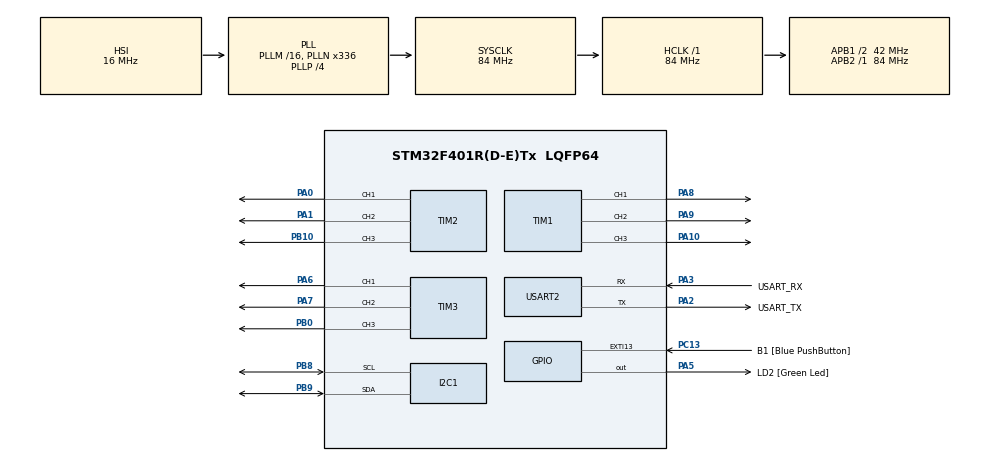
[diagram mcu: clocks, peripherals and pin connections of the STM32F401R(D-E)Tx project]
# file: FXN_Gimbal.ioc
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FREERTOS.Tasks01=GimbalCore,0,256,StartGimbalTask,Default,NULL,Dynamic,NULL,NULL
Mcu.Family=STM32F4
Mcu.Name=STM32F401R(D-E)Tx
Mcu.Package=LQFP64
NVIC.PriorityGroup=NVIC_PRIORITYGROUP_4
PA0-WKUP.Signal=S_TIM2_CH1_ETR
PA1.Signal=S_TIM2_CH2
PA10.Signal=S_TIM1_CH3
PA13.GPIO_Label=TMS
PA13.Mode=Serial_Wire
PA13.Signal=SYS_JTMS-SWDIO
PA14.GPIO_Label=TCK
PA14.Mode=Serial_Wire
PA14.Signal=SYS_JTCK-SWCLK
PA2.GPIO_Label=USART_TX
PA2.GPIO_Mode=GPIO_MODE_AF_PP
PA2.GPIO_PuPd=GPIO_NOPULL
PA2.GPIO_Speed=GPIO_SPEED_FREQ_LOW
PA2.Mode=Asynchronous
PA2.Signal=USART2_TX
PA3.GPIO_Label=USART_RX
PA3.GPIO_Mode=GPIO_MODE_AF_PP
PA3.GPIO_PuPd=GPIO_NOPULL
PA3.GPIO_Speed=GPIO_SPEED_FREQ_LOW
PA3.Mode=Asynchronous
PA3.Signal=USART2_RX
PA5.GPIO_Label=LD2 [Green Led]
PA5.GPIO_Mode=GPIO_MODE_OUTPUT_PP
PA5.GPIO_PuPd=GPIO_NOPULL
PA5.GPIO_Speed=GPIO_SPEED_FREQ_LOW
PA5.Signal=GPIO_Output
PA6.Signal=S_TIM3_CH1
PA7.Signal=S_TIM3_CH2
PA8.Signal=S_TIM1_CH1
PA9.Signal=S_TIM1_CH2
PB0.Signal=S_TIM3_CH3
PB10.Signal=S_TIM2_CH3
PB3.GPIO_Label=SWO
PB3.Signal=SYS_JTDO-SWO
PB8.Mode=I2C
PB8.Signal=I2C1_SCL
PB9.Mode=I2C
PB9.Signal=I2C1_SDA
PC13-ANTI_TAMP.GPIO_Label=B1 [Blue PushButton]
PC13-ANTI_TAMP.GPIO_ModeDefaultEXTI=GPIO_MODE_IT_FALLING
PC13-ANTI_TAMP.GPIO_PuPd=GPIO_NOPULL
PC13-ANTI_TAMP.Signal=GPXTI13
PC14-OSC32_IN.Mode=LSE-External-Oscillator
PC14-OSC32_IN.Signal=RCC_OSC32_IN
PC15-OSC32_OUT.Mode=LSE-External-Oscillator
PC15-OSC32_OUT.Signal=RCC_OSC32_OUT
PH0\ -\ OSC_IN.Mode=HSE-External-Clock-Source
PH0\ -\ OSC_IN.Signal=RCC_OSC_IN
PH1\ -\ OSC_OUT.Mode=HSE-External-Clock-Source
PH1\ -\ OSC_OUT.Signal=RCC_OSC_OUT
ProjectManager.HeapSize=0x200
ProjectManager.StackSize=0x400
ProjectManager.TargetToolchain=STM32CubeIDE
RCC.48MHZClocksFreq_Value=48000000
RCC.AHBFreq_Value=84000000
RCC.APB1CLKDivider=RCC_HCLK_DIV2
RCC.APB1Freq_Value=42000000
RCC.APB1TimFreq_Value=84000000
RCC.APB2Freq_Value=84000000
RCC.APB2TimFreq_Value=84000000
RCC.CortexFreq_Value=84000000
RCC.HCLKFreq_Value=84000000
RCC.HSE_VALUE=8000000
RCC.HSI_VALUE=16000000
RCC.PLLN=336
RCC.PLLP=RCC_PLLP_DIV4
RCC.PLLQ=7
RCC.SYSCLKFreq_VALUE=84000000
RCC.SYSCLKSource=RCC_SYSCLKSOURCE_PLLCLK
RCC.VCOOutputFreq_Value=336000000
SH.S_TIM1_CH1.0=TIM1_CH1,PWM Generation1 CH1
SH.S_TIM1_CH2.0=TIM1_CH2,PWM Generation2 CH2
SH.S_TIM1_CH3.0=TIM1_CH3,PWM Generation3 CH3
SH.S_TIM2_CH1_ETR.0=TIM2_CH1,PWM Generation1 CH1
SH.S_TIM2_CH2.0=TIM2_CH2,PWM Generation2 CH2
SH.S_TIM2_CH3.0=TIM2_CH3,PWM Generation3 CH3
SH.S_TIM3_CH1.0=TIM3_CH1,PWM Generation1 CH1
SH.S_TIM3_CH2.0=TIM3_CH2,PWM Generation2 CH2
SH.S_TIM3_CH3.0=TIM3_CH3,PWM Generation3 CH3
TIM1.Channel-PWM\ Generation1\ CH1=TIM_CHANNEL_1
TIM1.Channel-PWM\ Generation2\ CH2=TIM_CHANNEL_2
TIM1.Channel-PWM\ Generation3\ CH3=TIM_CHANNEL_3
TIM2.Channel-PWM\ Generation1\ CH1=TIM_CHANNEL_1
TIM2.Channel-PWM\ Generation2\ CH2=TIM_CHANNEL_2
TIM2.Channel-PWM\ Generation3\ CH3=TIM_CHANNEL_3
TIM3.Channel-PWM\ Generation1\ CH1=TIM_CHANNEL_1
TIM3.Channel-PWM\ Generation2\ CH2=TIM_CHANNEL_2
TIM3.Channel-PWM\ Generation3\ CH3=TIM_CHANNEL_3
USART2.VirtualMode=VM_ASYNC
VP_FREERTOS_VS_CMSIS_V1.Mode=CMSIS_V1
VP_TIM1_VS_ClockSourceINT.Mode=Internal
VP_TIM2_VS_ClockSourceINT.Mode=Internal
VP_TIM3_VS_ClockSourceINT.Mode=Internal
board=NUCLEO-F401RE

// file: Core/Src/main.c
/* USER CODE BEGIN Header */
/**
  ******************************************************************************
  * @file           : main.c
  * @brief          : Main program body
  ******************************************************************************
  * @attention
  *
  * Copyright (c) 2024 STMicroelectronics.
  * All rights reserved.
  *
  * This software is licensed under terms that can be found in the LICENSE file
  * in the root directory of this software component.
  * If no LICENSE file comes with this software, it is provided AS-IS.
  *
  ******************************************************************************
  */
/* USER CODE END Header */
#include "main.h"
#include "cmsis_os.h"
#include "i2c.h"
#include "tim.h"
#include "usart.h"
#include "gpio.h"

void SystemClock_Config(void);
void MX_FREERTOS_Init(void);

int main(void)
{

  /* MCU Configuration--------------------------------------------------------*/

  /* Reset of all peripherals, Initializes the Flash interface and the Systick. */
  HAL_Init();

  /* Configure the system clock */
  SystemClock_Config();

  /* Initialize all configured peripherals */
  MX_GPIO_Init();
  MX_I2C1_Init();
  MX_USART2_UART_Init();
  MX_TIM1_Init();
  MX_TIM2_Init();
  MX_TIM3_Init();

  /* Call init function for freertos objects (in freertos.c) */
  MX_FREERTOS_Init();

  /* Start scheduler */
  osKernelStart();

  /* We should never get here as control is now taken by the scheduler */
  /* Infinite loop */
  while (1)
  {

  }
}

void SystemClock_Config(void)
{
  RCC_OscInitTypeDef RCC_OscInitStruct = {0};
  RCC_ClkInitTypeDef RCC_ClkInitStruct = {0};

  /** Configure the main internal regulator output voltage
  */
  __HAL_RCC_PWR_CLK_ENABLE();
  __HAL_PWR_VOLTAGESCALING_CONFIG(PWR_REGULATOR_VOLTAGE_SCALE2);

  /** Initializes the RCC Oscillators according to the specified parameters
  * in the RCC_OscInitTypeDef structure.
  */
  RCC_OscInitStruct.OscillatorType = RCC_OSCILLATORTYPE_HSI;
  RCC_OscInitStruct.HSIState = RCC_HSI_ON;
  RCC_OscInitStruct.HSICalibrationValue = RCC_HSICALIBRATION_DEFAULT;
  RCC_OscInitStruct.PLL.PLLState = RCC_PLL_ON;
  RCC_OscInitStruct.PLL.PLLSource = RCC_PLLSOURCE_HSI;
  RCC_OscInitStruct.PLL.PLLM = 16;
  RCC_OscInitStruct.PLL.PLLN = 336;
  RCC_OscInitStruct.PLL.PLLP = RCC_PLLP_DIV4;
  RCC_OscInitStruct.PLL.PLLQ = 7;
  if (HAL_RCC_OscConfig(&RCC_OscInitStruct) != HAL_OK)
  {
    Error_Handler();
  }

  /** Initializes the CPU, AHB and APB buses clocks
  */
  RCC_ClkInitStruct.ClockType = RCC_CLOCKTYPE_HCLK|RCC_CLOCKTYPE_SYSCLK
                              |RCC_CLOCKTYPE_PCLK1|RCC_CLOCKTYPE_PCLK2;
  RCC_ClkInitStruct.SYSCLKSource = RCC_SYSCLKSOURCE_PLLCLK;
  RCC_ClkInitStruct.AHBCLKDivider = RCC_SYSCLK_DIV1;
  RCC_ClkInitStruct.APB1CLKDivider = RCC_HCLK_DIV2;
  RCC_ClkInitStruct.APB2CLKDivider = RCC_HCLK_DIV1;

  if (HAL_RCC_ClockConfig(&RCC_ClkInitStruct, FLASH_LATENCY_2) != HAL_OK)
  {
    Error_Handler();
  }
}

void Error_Handler(void)
{
  __disable_irq();
  while (1)
  {
  }
}

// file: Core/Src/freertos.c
/* USER CODE BEGIN Header */
/**
  ******************************************************************************
  * File Name          : freertos.c
  * Description        : Code for freertos applications
  ******************************************************************************
  * @attention
  *
  * Copyright (c) 2024 STMicroelectronics.
  * All rights reserved.
  *
  * This software is licensed under terms that can be found in the LICENSE file
  * in the root directory of this software component.
  * If no LICENSE file comes with this software, it is provided AS-IS.
  *
  ******************************************************************************
  */
/* USER CODE END Header */

#include "FreeRTOS.h"
#include "task.h"
#include "main.h"
#include "cmsis_os.h"

/* USER CODE BEGIN Includes */
#include "iImu.h"
#include "MPU6050/mpu6050.h"
#include "stdio.h"
#include "iDrive_Config.h"
#include "iPrint.h"
#include <math.h>
#include "firstOrderFilter.h"
#include "Bgc32.h"
#include "board.h"
#include "iHMC5883.h"
/* USER CODE END Includes */

/* USER CODE BEGIN PTD */

#define Kp 7.2f
#define Ki 0.0f
#define halfT 0.001f
float q_0 = 1, q_1 = 0, q_2 = 0, q_3 = 0;
float exInt = 0, eyInt = 0, ezInt = 0;
float P,R, Y;
float accelOneG=9.8065;
#define magneto 0
/* USER CODE END PTD */

/* USER CODE BEGIN PD */
IMU_DATA_STRUCT ImuData;
IMU_TEMP_STRUCT ImuTemp;
HMC5883_DATA_STRUCT HMC5883Data;
/* USER CODE END PD */

/* USER CODE BEGIN PM */
#define ACCEL_SCALE_FACTOR 0.00059854//0.00119708f  // (1/8192) * 9.8065  (8192 LSB = 1 G)
#define GYRO_SCALE_FACTOR  0.00026646f  // (1/65.5) * pi/180   (65.5 LSB = 1 DPS)
float dt500Hz=0;
float accel_TC_Bias_Slope_x;
float accel_TC_Bias_Slope_y;
float accel_TC_Bias_Slope_z;
float accel_TC_Bias_Intercept_x;
float accel_TC_Bias_Intercept_y;
float accel_TC_Bias_Intercept_z;
float gyro_TC_Bias_Slope_r;
float gyro_TC_Bias_Slope_p;
float gyro_TC_Bias_Slope_y;
float gyro_TC_Bias_Intercept_r;
float gyro_TC_Bias_Intercept_p;
float gyro_TC_Bias_Intercept_y;
float accelTCBias[3] = { 0.0f, 0.0f, 0.0f };
float gyroTCBias[3];
float accel500Hz[3] = {0.0f, 0.0f, 0.0f};
float gyro500Hz[3] = {0.0f, 0.0f, 0.0f};
float gyroRTBias[3] = {0.0f, 0.0f, 0.0f};
float evvgcCFAttitude500Hz[3] = {0.0f, 0.0f, 0.0f};
float accAngleSmooth[3];
/* USER CODE END PM */

osThreadId GimbalCoreHandle;

/* USER CODE BEGIN FunctionPrototypes */

void MPU6050_Calibration()
{
    uint16_t sampleRate      = 100;
    uint16_t numberOfSamples = 100;

    float accelBias1[3]       = { 0.0f, 0.0f, 0.0f };
    float gyroBias1[3]        = { 0.0f, 0.0f, 0.0f };
    float mpu6050Temperature1 = 0.0f;

    float accelBias2[3]       = { 0.0f, 0.0f, 0.0f };
    float gyroBias2[3]        = { 0.0f, 0.0f, 0.0f };
    float mpu6050Temperature2 = 0.0f;

    uint16_t index;
    //mpu6050Calibrating = true;

    printf("\nMPU6050 Calibration:\n\r");

    ///////////////////////////////////
    // Get samples at temperature1
    ///////////////////////////////////
    IMU_STRUCT* pImu = GetImuStr_Addr();

    printf("\nBegin 1st MPU6050 Measurements...\n");

    for (index = 0; index < numberOfSamples; index++)
    {
    	pImu->GetData(&ImuData);
    	float temp = Read_Temperature();

        accelBias1[0]    += ImuData.accel_x;
        accelBias1[1]    += ImuData.accel_y;
        accelBias1[2]	 += (ImuData.accel_z -9.8065);
        gyroBias1[0]     += ImuData.gyro_r;
        gyroBias1[1]     += ImuData.gyro_p;
        gyroBias1[2]     += ImuData.gyro_y;
        mpu6050Temperature1  += temp;

        printf("x=%f, y=%f, z=%f, accelBias1[0]=%f, accelBias1[1]=%f, accelBias1[2]=%f \r\n", ImuData.accel_x, ImuData.accel_y, ImuData.accel_z, accelBias1[0], accelBias1[1], accelBias1[2]);
        osDelay(sampleRate);
    }

    accelBias1[0]   /= (float) numberOfSamples;
    accelBias1[1]   /= (float) numberOfSamples;
    accelBias1[2]   /= (float) numberOfSamples;
    gyroBias1[0]    /= (float) numberOfSamples;
    gyroBias1[1]    /= (float) numberOfSamples;
    gyroBias1[2]    /= (float) numberOfSamples;
    mpu6050Temperature1 /= (float) numberOfSamples;
    printf("accelBias1[0]=%f, accelBias1[1]=%f, accelBias1[2]=%f \r\n",accelBias1[0],accelBias1[1],accelBias1[2]);
    printf("mpu6050Temperature1=%f",mpu6050Temperature1);
    printf("\n\nEnd 1st MPU6050 Measurements\n\r");

    osDelay(10000);
    ///////////////////////////////////
    // Get samples at temperature2
    ///////////////////////////////////
    printf("\nBegin 2nd MPU6050 Measurements...\n\r");

    for (index = 0; index < numberOfSamples; index++)
    {
    	pImu->GetData(&ImuData);
    	float temp = Read_Temperature();
        //rawAccel[ZAXIS].value = rawAccel[ZAXIS].value - 8192;
//    	float accel_z = ImuData.accel_z-16384;

        accelBias2[0]    += ImuData.accel_x;
        accelBias2[1]    += ImuData.accel_y;
        accelBias2[2]	 += (ImuData.accel_z -9.8065);
        gyroBias2[0]     += ImuData.gyro_r;
        gyroBias2[1]     += ImuData.gyro_p;
        gyroBias2[2]     += ImuData.gyro_y;
        mpu6050Temperature2  += temp;
        printf("x=%f, y=%f, z=%f, accelBias1[0]=%f, accelBias1[1]=%f, accelBias1[2]=%f \r\n", ImuData.accel_x, ImuData.accel_y, ImuData.accel_z, accelBias2[0], accelBias2[1], accelBias2[2]);
        osDelay(sampleRate);
    }

    accelBias2[0]   /= (float) numberOfSamples;
    accelBias2[1]   /= (float) numberOfSamples;
    accelBias2[2]   /= (float) numberOfSamples;
    gyroBias2[0]    /= (float) numberOfSamples;
    gyroBias2[1]    /= (float) numberOfSamples;
    gyroBias2[2]    /= (float) numberOfSamples;
    mpu6050Temperature2 /= (float) numberOfSamples;
    printf("accelBias2[0]=%f, accelBias2[1]=%f, accelBias2[2]=%f \r\n",accelBias2[0],accelBias2[1],accelBias2[2]);
    printf("mpu6050Temperature2=%f",mpu6050Temperature2);
    printf("\n\nEnd 2nd MPU6050 Measurements\n\r");

//    pCalibrationImu->CalibrationData(&ImuCalData);
	accel_TC_Bias_Slope_x = (accelBias2[0] - accelBias1[0]) / (mpu6050Temperature2 - mpu6050Temperature1);
	accel_TC_Bias_Slope_y = (accelBias2[1] - accelBias1[1]) / (mpu6050Temperature2 - mpu6050Temperature1);
	accel_TC_Bias_Slope_z = (accelBias2[2] - accelBias1[2]) / (mpu6050Temperature2 - mpu6050Temperature1);

	printf("accel_TC_Bias_Slope_x=%f, accel_TC_Bias_Slope_y=%f, accel_TC_Bias_Slope_z=%f \r\n", accel_TC_Bias_Slope_x, accel_TC_Bias_Slope_y, accel_TC_Bias_Slope_z);

	accel_TC_Bias_Intercept_x = accelBias2[0] - (accel_TC_Bias_Slope_x * mpu6050Temperature2);
	accel_TC_Bias_Intercept_y = accelBias2[1] - (accel_TC_Bias_Slope_y * mpu6050Temperature2);
	accel_TC_Bias_Intercept_z = accelBias2[2] - (accel_TC_Bias_Slope_z * mpu6050Temperature2);

	gyro_TC_Bias_Slope_r = (gyroBias2[0] - gyroBias1[0]) / (mpu6050Temperature2 - mpu6050Temperature1);
	gyro_TC_Bias_Slope_p = (gyroBias2[1] - gyroBias1[1]) / (mpu6050Temperature2 - mpu6050Temperature1);
	gyro_TC_Bias_Slope_y = (gyroBias2[2] - gyroBias1[2]) / (mpu6050Temperature2 - mpu6050Temperature1);

	gyro_TC_Bias_Intercept_r = gyroBias2[0] - (gyro_TC_Bias_Slope_r * mpu6050Temperature2);
	gyro_TC_Bias_Intercept_p = gyroBias2[1] - (gyro_TC_Bias_Slope_p * mpu6050Temperature2);
	gyro_TC_Bias_Intercept_y = gyroBias2[2] - (gyro_TC_Bias_Slope_y * mpu6050Temperature2);
    ///////////////////////////////////
}

void computeMPU6050TCBias()
{
	float Temperature = Read_Temperature();

	accelTCBias[0] =  accel_TC_Bias_Slope_x * Temperature + accel_TC_Bias_Intercept_x;
	accelTCBias[1] =  accel_TC_Bias_Slope_y * Temperature + accel_TC_Bias_Intercept_y;
	accelTCBias[2] =  accel_TC_Bias_Slope_z * Temperature + accel_TC_Bias_Intercept_z;
	gyroTCBias[0] = gyro_TC_Bias_Slope_r * Temperature + gyro_TC_Bias_Intercept_r;
	gyroTCBias[1]= gyro_TC_Bias_Slope_p * Temperature + gyro_TC_Bias_Intercept_p;
	gyroTCBias[2]= gyro_TC_Bias_Slope_y * Temperature + gyro_TC_Bias_Intercept_y;
}
void computeMPU6050RTData(void)
{
    uint8_t  axis;
    uint16_t samples;

    IMU_STRUCT* pImu = GetImuStr_Addr();

    double accelSum[3]    = { 0.0f, 0.0f, 0.0f };
    double gyroSum[3]     = { 0.0f, 0.0f, 0.0f };

//    mpu6050Calibrating = true;

//    for (samples = 0; samples < 5000; samples++)
    for (samples = 0; samples < 1; samples++)
    {
        //readMPU6050();
    	computeMPU6050TCBias();
        pImu->GetData(&ImuData);

        accelSum[0] += ImuData.accel_x - accelTCBias[0];
        accelSum[1] += ImuData.accel_y - accelTCBias[1];
        accelSum[2] += ImuData.accel_z - accelTCBias[2];

        gyroSum[0]  += ImuData.gyro_r  - gyroTCBias[0];
        gyroSum[1]  += ImuData.gyro_p  - gyroTCBias[1];
        gyroSum[2]  += ImuData.gyro_y  - gyroTCBias[2];

        //delayMicroseconds(500);
        osDelay(1000);
    }

    for (axis = 0; axis < 3; axis++)
    {
			//對之前積分的5000次加速度數據的結果求平均后然後乘以最小刻度值(1/8192) * 9.8065
    	//gyroSum[axis]   = accelSum[axis] / 50.0f * ACCEL_SCALE_FACTOR;
    	gyroSum[axis]   = accelSum[axis] / 50.0f;

        gyroRTBias[axis] = gyroSum[axis]  / 50.0f;
    }
    printf("gyroRTBias[0]=%f, gyroRTBias=%f, gyroRTBias[2]=%f, \r\n",gyroRTBias[0],gyroRTBias[1],gyroRTBias[2]);

    accelOneG = sqrt(SQR(accelSum[XAXIS]) + SQR(accelSum[YAXIS]) + SQR(accelSum[ZAXIS]));

//    mpu6050Calibrating = false;
}
void Angle_Update(float gx,float gy,float gz,float ax,float ay,float az)
{
    float norm;
    float vx, vy, vz;
    float ex, ey, ez;

    norm = sqrt((ax*ax) + (ay*ay) + (az*az));
    ax = accel500Hz[0] / norm;
    ay = accel500Hz[1] / norm;
    az = accel500Hz[2] / norm;

    vx = 2*(q_1*q_3 - q_0*q_2);
    vy = 2*(q_0*q_1 + q_2*q_3);
    vz = q_0*q_0 - q_1*q_1 - q_2*q_2 + q_3*q_3;

    ex = (ay*vz - az*vy);
    ey = (az*vx - ax*vz);
    ez = (ax*vy - ay*vx);

    exInt = exInt + ex*Ki;
    eyInt = eyInt + ey*Ki;
    ezInt = ezInt + ez*Ki;

    if(fabs(ex)<= 0.01)
    exInt = 0;
    if(fabs(ey)<= 0.01)
    eyInt = 0;
    if(fabs(ez)<= 0.01)
    ezInt = 0;

    gx = gx + Kp*ex + exInt;
    gy = gy + Kp*ey + eyInt;
    gz = gz + Kp*ez + ezInt;

    q_0 = q_0 + (-q_1*gx - q_2*gy - q_3*gz)*halfT;
    q_1 = q_1 + (q_0*gx + q_2*gz - q_3*gy)*halfT;
    q_2 = q_2 + (q_0*gy - q_1*gz + q_3*gx)*halfT;
    q_3 = q_3 + (q_0*gz + q_1*gy - q_2*gx)*halfT;

    norm = sqrt(q_0*q_0 + q_1*q_1 + q_2*q_2 + q_3*q_3);
    q_0 = q_0 / norm;
    q_1 = q_1 / norm;
    q_2 = q_2 / norm;
    q_3 = q_3 / norm;

    P  = asin(-2 * q_1 * q_3 + 2 * q_0* q_2)* 57.3; // pitch
    R = atan2(2 * q_2 * q_3 + 2 * q_0 * q_1, -2 * q_1 * q_1 - 2 * q_2* q_2 + 1)* 57.3; // rollv
//	        R = normalizeAngle180(R);
    Y = atan2(2*(q_1*q_2 + q_0*q_3),q_0*q_0+q_1*q_1-q_2*q_2-q_3*q_3) * 57.3;

    printf("Pitch = %f,", P);
    printf("Roll= %f ,", R);
    printf("Yaw= %f\r\n", Y);
}
void initOrientation()
{
    int initLoops = 150;
    float accAngle[3] = { 0.0f, 0.0f, 0.0f };
    int i;
    IMU_STRUCT* pImu = GetImuStr_Addr();

    for (i = 0; i < initLoops; i++)
    {
       // readMPU6050();//從MPU6050得到加速度和陀螺儀數據，並進行 與初始化方位估計矩陣（根據IMU單元的方位確定的矩陣A ） 相乘后的數據
    	pImu->GetData(&ImuData);

        computeMPU6050TCBias();//	計算溫度補償偏差值

			//（矩陣相乘后的加速度數據-溫度補償偏差）* （(1/8192) * 9.8065）
		//(1/8192) * 9.8065  (8192 LSB = 1 G)
		 //1G量程的8192個數字量分之1，對應重力加速度9.8065m/1G的8192分之1
        accel500Hz[0] = (ImuData.accel_x - accelTCBias[0]);// * ACCEL_SCALE_FACTOR;
        accel500Hz[1] = (ImuData.accel_y - accelTCBias[1]);// * ACCEL_SCALE_FACTOR;
        accel500Hz[2] = -(ImuData.accel_z - accelTCBias[2]);// * ACCEL_SCALE_FACTOR;

			//進行歐拉角積分運算
        accAngle[0]  += atan2f(-accel500Hz[1], -accel500Hz[2]);//Roll = Y & Z
        accAngle[1] += atan2f(accel500Hz[0], -accel500Hz[2]); // Pitch = X &Z

			//求取歐拉角算數平均值
        accAngleSmooth[0 ] = accAngle[0 ] / (float)initLoops;
        accAngleSmooth[1] = accAngle[1] / (float)initLoops;

        osDelay(2);
    }

		//得到目前方位 ,初始化一次，不要振動雲臺，因為這裡只用了加速度數據計算歐拉角（加速度數據是長期可信的），但是加速度計對
		//振動很敏感，所以?了減小誤差，初始化方位的時候不要振動雲臺。
    evvgcCFAttitude500Hz[0] = accAngleSmooth[0];
    evvgcCFAttitude500Hz[1 ] = accAngleSmooth[1];
    evvgcCFAttitude500Hz[2  ] = 0.0f;
    printf("accAngleSmooth[0]=%f, accAngleSmooth[1]=%f \r\n", accAngleSmooth[0]*57.3, accAngleSmooth[1]*57.3);
}
//此函式是???位估計翄核心函弿
void getOrientation(float *smoothAcc, float *orient, float *accData, float *gyroData, float dt)
{
    float accAngle[3];
    float gyroRate[3];

	//通過使用atan2f函式計算加速度數據得到歐拉角 滾轉角和 俯仰角。
    accAngle[0] = atan2f(-accData[1], -accData[2]); //Roll = Y & Z
    accAngle[1] = atan2f(accData[0], -accData[2]); //Pitch = X & Z
//printf("accAngle[0]=%f, accAngle[1]=%f, ", accAngle[0]*57.3,accAngle[1]*57.3);

	//其中 smoothAcc 是通過加速度數據經過atan2f函式計算得來的歐拉角，並且進行了一階滯後濾波
	//（此濾波演算法也屬於低通濾波的一種），優點： 對週期性干擾具有良好的抑制作用 適用於波動頻率較高的場合,
	// 缺點： 相位滯後，靈敏度低 滯後程度取決於a值大小， 不能消除濾波頻率高於採樣頻率的1/2的干擾訊號,程式碼中a的值是99.0f
    smoothAcc[0]  = ((smoothAcc[0 ] * 70.0f) + accAngle[0 ]*30.0f) / 100.0f;
    smoothAcc[1] = ((smoothAcc[1] *70.0f) + accAngle[1]*30.0f) / 100.0f;
//printf("smoothAcc[0]=%f, smoothAcc[1]=%f, gyroData[1]=%f ",smoothAcc[0]*57.3, smoothAcc[1]*57.3, gyroData[1]*57.3);

    gyroRate[1] =  gyroData[1];
	//通過互補濾波來融合根據加速度和陀螺儀計算出來的角度，orient[PITCH]是上次融合后的角度，gyroRate[PITCH] * dt是根據陀螺儀
	//數據計算得到的角度（角速度*持續時間結果就是弧度，弧度和角度很容易的可以相互轉換），為什麼要進行數據融合？
	//答：加速度計和陀螺儀都能計算出姿態，但為何要對它們融合，是因為加速度計對振動之類的擾動很敏感，但長期數據計算出的姿態可信，
	//而陀螺儀雖然對振動這些不敏感，但長期使用陀螺儀會出現漂移，因此我們要進行互補，短期相信陀螺儀，長期相信加速度計.
	//先通過加速度計得到的角度減去上一次融合后的角度然後乘以一個比例係數，這個比例係數越小，融合的加速度計的數據比重越小，
	//短期相信陀螺儀，所以陀螺儀的比重這裡是1，長期相信加速度計，加速度計的數據用來修正陀螺儀的漂移產生的誤差，
	//這樣對陀螺儀的漂移進行了修正，有效地抑制了加速度計和陀螺儀各自單獨工作時候的偏差.
//    orient[1]   = (orient[1] + gyroRate[1] * dt) + 0.0002f * (smoothAcc[1] - orient[1]);
    orient[1]   = (orient[1] + gyroRate[1] * dt) + 0.02f * (smoothAcc[1] - orient[1]);

		//可以用正弦或餘弦和x軸單獨算出角度,因為我們知道重力的大小
	 //但是IMU單元必須是靜止水平狀態
    gyroRate[0]  =  gyroData[0] * cosf(fabsf(orient[1])) + gyroData[2] * sinf(orient[1]);

	//通過互補濾波來融合根據加速度和陀螺儀計算出來的角度，orient[PITCH]是上次融合后的角度，gyroRate[PITCH] * dt是根據陀螺儀
	//數據計算得到的角度（角速度*持續時間結果就是弧度，弧度和角度很容易的可以相互轉換），為什麼要進行數據融合？
	//答：加速度計和陀螺儀都能計算出姿態，但為何要對它們融合，是因為加速度計對振動之類的擾動很敏感，但長期數據計算出的姿態可信，
	//而陀螺儀雖然對振動這些不敏感，但長期使用陀螺儀會出現漂移，因此我們要進行互補，短期相信陀螺儀，長期相信加速度計.
	//先通過加速度計得到的角度減去上一次融合后的角度然後乘以一個比例係數，這個比例係數越小，融合的加速度計的數據比重越小，
	//短期相信陀螺儀，所以陀螺儀的比重這裡是1，長期相信加速度計，加速度計的數據用來修正陀螺儀的漂移產生的誤差，
	//這樣對陀螺儀的漂移進行了修正，有效地抑制了加速度計和陀螺儀各自單獨工作時候的偏差.
    orient[0]    = (orient[0] + gyroRate[0] * dt) + 0.02f * (smoothAcc[0] - orient[0]);

		//可以用正弦或餘弦和x軸單獨算出角度,因為我們知道重力的大小
	 //但是IMU單元必須是靜止水平狀態
    gyroRate[2]   =  gyroData[2] * cosf(fabsf(orient[1])) - gyroData[0] * sinf(orient[1]);

    orient[2]     = (orient[2] + gyroRate[2] * dt);//對鿿??????迌翍忆志到???航角YAW
    printf("orient[0]=%f, orient[1]=%f, orient[2]=%f, \r\n", orient[0]*57.3, orient[1]*57.3, orient[2]*57.3);
}
// Magnetometer define

#if magneto

#define MagnetcDeclination 4.43

int calculateHeading(short x ,short y,short z, short *offsetX, short *offsetY)
{
  float headingRadians = atan2((double)((y)-*offsetY),(double)((x)-*offsetX));
  //保迉數???在0-2*PI之鿿
  if(headingRadians < 0)
    headingRadians += 2*PI;

  int headingDegrees = headingRadians * 57.3;
  	  headingDegrees += MagnetcDeclination; //磁忏迿

  // <span style="font-family: Arial, Helvetica, sans-serif; ??>保迉數???在0-360之鿿</span>
  if(headingDegrees > 360)
    headingDegrees -= 360;

  return headingDegrees;
}
#endif
/* USER CODE END FunctionPrototypes */

void StartGimbalTask(void const * argument);

void MX_FREERTOS_Init(void); /* (MISRA C 2004 rule 8.1) */

/* GetIdleTaskMemory prototype (linked to static allocation support) */
void vApplicationGetIdleTaskMemory( StaticTask_t **ppxIdleTaskTCBBuffer, StackType_t **ppxIdleTaskStackBuffer, uint32_t *pulIdleTaskStackSize );

/* USER CODE BEGIN GET_IDLE_TASK_MEMORY */
static StaticTask_t xIdleTaskTCBBuffer;
static StackType_t xIdleStack[configMINIMAL_STACK_SIZE];

void vApplicationGetIdleTaskMemory( StaticTask_t **ppxIdleTaskTCBBuffer, StackType_t **ppxIdleTaskStackBuffer, uint32_t *pulIdleTaskStackSize )
{
  *ppxIdleTaskTCBBuffer = &xIdleTaskTCBBuffer;
  *ppxIdleTaskStackBuffer = &xIdleStack[0];
  *pulIdleTaskStackSize = configMINIMAL_STACK_SIZE;
  /* place for user code */
}
/* USER CODE END GET_IDLE_TASK_MEMORY */

void MX_FREERTOS_Init(void) {

  /* Create the thread(s) */
  /* definition and creation of GimbalCore */
  osThreadDef(GimbalCore, StartGimbalTask, osPriorityNormal, 0, 256);
  GimbalCoreHandle = osThreadCreate(osThread(GimbalCore), NULL);

}

void StartGimbalTask(void const * argument)
{
  /* USER CODE BEGIN StartGimbalTask */

	uint32_t imuOldTick = xTaskGetTickCount();
	uint8_t id;
	int16_t mx, my, mz;

	IMU_STRUCT* pImu = GetImuStr_Addr();
	HMC5883_STRUCT* pHMC5883 = GetHMC5883Str_Addr();

	int result;
	result = mpu_init();
	printf("result = %d \r\n", result);

	pImu->Init();
	pHMC5883->Init();

	orientIMU();
	MPU6050_Calibration();
	computeMPU6050RTData();

//  initFirstOrderFilter();
	initOrientation();
	computeMPU6050TCBias();

  /* Infinite loop */
	float yaw=0;
	short offsetX ,offsetY , offsetZ;

  for(;;)
  {
	  if(xTaskGetTickCount() - imuOldTick >= 2)
	  {
		  taskENTER_CRITICAL();

		  pImu->GetData(&ImuData);
		  pHMC5883->GetData(&HMC5883Data);

		  printf("mx=%d, my=%d, mz=%d, \r\n", HMC5883Data.mag_x, HMC5883Data.mag_y, HMC5883Data.mag_z);

		  dt500Hz = (xTaskGetTickCount() - imuOldTick)/configTICK_RATE_HZ;

		  accel500Hz[0] = (ImuData.accel_x - accelTCBias[0]);//*ACCEL_SCALE_FACTOR;
		  accel500Hz[1] = (ImuData.accel_y - accelTCBias[1]);//;*ACCEL_SCALE_FACTOR;
		  accel500Hz[2] = -(ImuData.accel_z - accelTCBias[2]);
		  gyro500Hz[0] = (ImuData.gyro_r - gyroRTBias[0] - gyroTCBias[0]);//*GYRO_SCALE_FACTOR;
	      gyro500Hz[1] = (ImuData.gyro_p - gyroRTBias[1] - gyroTCBias[1]);//*GYRO_SCALE_FACTOR;
		  gyro500Hz[2] = -(ImuData.gyro_y - gyroRTBias[2] - gyroTCBias[2]);//*GYRO_SCALE_FACTOR;

			//目前方位估計運算，其中 accAngleSmooth 是通過加速度數據經過atan2f函式計算得來的歐拉角，並且進行了一階滯後濾波
			//（此濾波演算法也屬於低通濾波的一種），優點： 對週期性干擾具有良好的抑制作用 適用於波動頻率較高的場合,
			// 缺點： 相位滯後，靈敏度低 滯後程度取決於a值大小 不能消除濾波頻率高於採樣頻率的1/2的干擾訊號,
			//getOrientation函式內部使用了accAngleSmooth歐拉角與陀螺儀數據進行了互補濾波融合演算法得到穩定的歐拉角，並且
			//存放到sensors.evvgcCFAttitude500Hz裡面，sensors.accel500Hz和sensors.gyro500Hz是經過上面演算法處理后的加速度數據
			//和陀螺儀數據，dt500Hz是時間增量，也就是執行if (frame_500Hz){} 裡面的程式碼間隔
		  getOrientation(accAngleSmooth, evvgcCFAttitude500Hz, accel500Hz, gyro500Hz, dt500Hz);

/*		  printf("Roll=%f, Pitch=%f, Yaw=%f \r\n",gyro500Hz[0], gyro500Hz[1], gyro500Hz[2]);
		  accel500Hz[0] = firstOrderFilter(accel500Hz[0], &firstOrderFilters[ACCEL_X_500HZ_LOWPASS]);
		  accel500Hz[1] = firstOrderFilter(accel500Hz[1], &firstOrderFilters[ACCEL_Y_500HZ_LOWPASS]);
		  accel500Hz[2] = firstOrderFilter(accel500Hz[2], &firstOrderFilters[ACCEL_Z_500HZ_LOWPASS]);

		  //航姿參考系統更新，入口參數是三軸陀螺儀數據，三軸加速度數據，三軸磁力計數據,以及指示是否更新磁力計數據的magDataUpdate參數，
			//magDataUpdate=false表示不更新磁力計數據，magDataUpdate=true表示更新磁力計數據，最後一個參數是時間增量Dt，也就是此函式本
			//次執行與上次執行的時間間隔。
		  MargAHRSupdate(gyro500Hz[0], gyro500Hz[1], gyro500Hz[2], accel500Hz[0], accel500Hz[1], accel500Hz[2],1.0, 1.0, 1.0, false, dt500Hz);
*/
		  MargAHRSupdate(gyro500Hz[0], gyro500Hz[1], gyro500Hz[2], accel500Hz[0], accel500Hz[1], accel500Hz[2],HMC5883Data.mag_x, HMC5883Data.mag_y, HMC5883Data.mag_z, true, dt500Hz);

//		  float pitch = atan2(accel500Hz[1], sqrt(accel500Hz[0] * accel500Hz[0] + accel500Hz[2] * accel500Hz[2])) * 180.0 / PI;
//		  float roll = atan2(-accel500Hz[0], accel500Hz[2]) * 180.0 / PI;
//		  yaw +=  gyro500Hz[2] * dt500Hz;
//		  printf("p=%f, r=%f, y=%f, \r\n", pitch, roll,yaw);

		  //test quarant
//		  Angle_Update(gyro500Hz[0],gyro500Hz[1],gyro500Hz[2],accel500Hz[0],accel500Hz[1],accel500Hz[2]);
//		  Angle_Update(ImuData.gyro_r,ImuData.gyro_p,ImuData.gyro_y,ImuData.accel_x,ImuData.accel_y,ImuData.accel_z);

/*		    float accAngle_cal_0 = atan2f(-accel500Hz[1], -accel500Hz[2]); //Roll = Y & Z
		    float accAngle_cal_1 = atan2f(accel500Hz[0], -accel500Hz[2]); //Pitch = X & Z
		    printf("accAngle_cal_Roll=%f, accAngle_cal_Pitch=%f, ", accAngle_cal_0 * 57.3, accAngle_cal_1 * 57.3);

		    float accAngle_uncal_0 = atan2f(-ImuData.accel_y, ImuData.accel_z); //Roll = Y & Z
		    float accAngle_uncal_1 = atan2f(ImuData.accel_x, ImuData.accel_z); //Pitch = X & Z
		    printf("accAngle_uncal_Roll=%f, accAngle_uncal_Pitch=%f, \r\n", accAngle_uncal_0*57.3, accAngle_uncal_1*57.3);
*/
		  imuOldTick = xTaskGetTickCount();
		  taskEXIT_CRITICAL();
	  }

	//osDelay(2);
  }
  /* USER CODE END StartGimbalTask */
}
